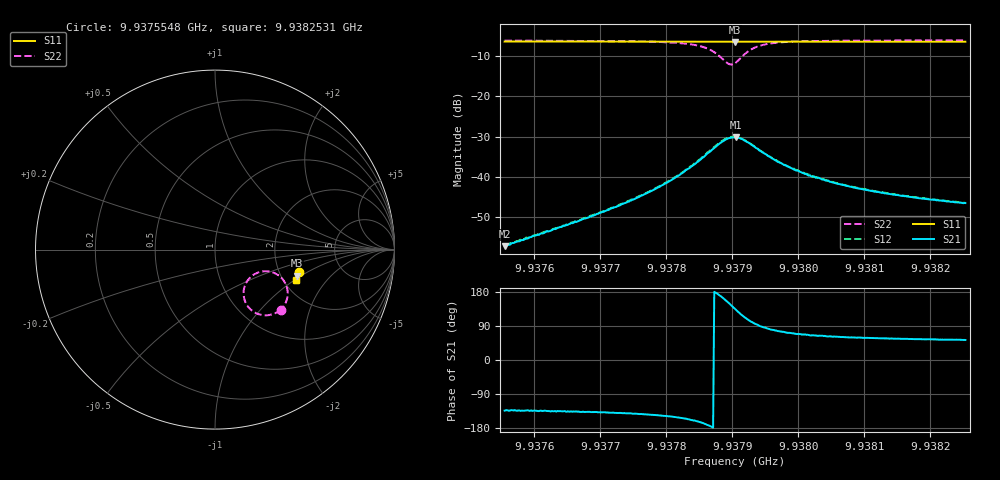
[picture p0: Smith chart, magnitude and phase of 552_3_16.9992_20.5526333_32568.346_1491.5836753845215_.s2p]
#  HZ  S  RI  R  50.00
! Rohde & Schwarz Vector Network Analyzer
! Rohde-Schwarz,ZNB20-2Port,1311601062101988,3.16
! Created: UTC 3/20/2024, 11:16:51 PM
! freq[Hz]  re:S11  im:S11  re:S21  im:S21  re:S12  im:S12  re:S22  im:S22
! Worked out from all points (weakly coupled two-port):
!   401 points, 9.9375548 GHz to 9.9382531 GHz, reference 50 ohm
!   highest |S21| = -30.18 dB at 9.9379057 GHz (marker M1); lowest = -57.3 dB at 9.9375548 GHz (marker M2)
!   lowest |S11| = -6.4 dB at 9.937904 GHz (marker M3), VSWR 2.83, Z = 121 - j45.7 ohm
!   |S11| at or under -10 dB: nowhere
!   |S22| runs from -12.1 to -6.1 dB; largest |S21 - S12| = 0.0013
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9.93755483e9  0.4661 -0.1251  -0.000944 -0.000991  -0.000969 -0.00101  0.3662 -0.3344
9.9376718e9  0.4632 -0.133  -0.00215 -0.002  -0.0022 -0.00198  0.35 -0.3464
9.93772766e9  0.4618 -0.1368  -0.00333 -0.00281  -0.00344 -0.00282  0.3364 -0.3539
9.93778877e9  0.46 -0.141  -0.00618 -0.00414  -0.00637 -0.00417  0.3089 -0.3634
9.93782543e9  0.4587 -0.1436  -0.0101 -0.00499  -0.0104 -0.00494  0.2743 -0.3661
9.93784463e9  0.4578 -0.1449  -0.0139 -0.0048  -0.0143 -0.00484  0.2434 -0.3602
9.93786034e9  0.4567 -0.1457  -0.0185 -0.0033  -0.019 -0.00285  0.2082 -0.3416
9.93787257e9  0.4559 -0.1462  -0.0228 7.6e-05  -0.0235 0.000623  0.1776 -0.3084
9.93788653e9  0.455 -0.1463  -0.0266 0.0083  -0.0272 0.00925  0.1591 -0.2373
9.93789526e9  0.4547 -0.1461  -0.0261 0.0155  -0.026 0.0166  0.1758 -0.1813
9.93789875e9  0.4546 -0.1458  -0.0248 0.0183  -0.0246 0.0195  0.1907 -0.1611
9.93790399e9  0.4546 -0.1457  -0.0219 0.0219  -0.0215 0.0231  0.22 -0.1372
9.93790574e9  0.4548 -0.1457  -0.0208 0.023  -0.0202 0.024  0.2311 -0.1313
9.93791446e9  0.4554 -0.1457  -0.014 0.0261  -0.0133 0.0267  0.2876 -0.1206
9.93792494e9  0.456 -0.1462  -0.00674 0.0256  -0.00598 0.026  0.3426 -0.1363
9.93794414e9  0.4564 -0.1479  0.000615 0.0205  0.00109 0.0206  0.3913 -0.1866
9.93797557e9  0.4562 -0.1506  0.00389 0.014  0.00422 0.014  0.4051 -0.2443
9.93799477e9  0.4556 -0.152  0.00427 0.0114  0.00454 0.0115  0.4035 -0.2649
9.93802096e9  0.4553 -0.1542  0.00419 0.00912  0.00436 0.0092  0.3986 -0.2837
9.93807508e9  0.4537 -0.1577  0.00381 0.00663  0.00397 0.00662  0.3889 -0.3058
9.93813793e9  0.4521 -0.1621  0.00339 0.0051  0.00349 0.0051  0.3801 -0.3197
9.93825315e9  0.4487 -0.1696  0.00285 0.00375  0.00293 0.00378  0.3678 -0.3349
